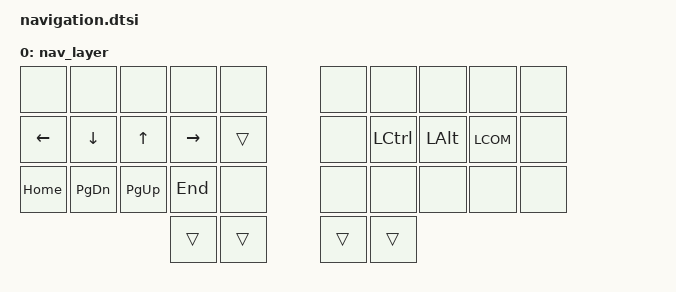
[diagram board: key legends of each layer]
/ {
    keymap {
        compatible = "zmk,keymap";
                nav_layer {
// -----------------------------------------------------------------
// |     |     |     |     |     | |     |     |     |     |     |
// | LFT | DWN | U P |RIGHT|_NAV_| |     |     |     |     |     |
// | HOM |PG_DN|PG_UP| END |     | |     |     |     |     |     |
//                   |     | SPC | | RET |_NUM_|
                        bindings = <
//┌─────────┬──────────┬──────────┬──────────┬───────┐ ┌───────┬──────────┬──────────┬─────────┬───────┐
    &none     &none      &none      &none      &none     &none   &none      &none      &none     &none 
//├─────────┼──────────┼──────────┼──────────┼───────┤ ├───────┼──────────┼──────────┼─────────┼───────┤
    &kp LEFT  &kp DOWN   &kp UP     &kp RIGHT  &trans    &none   &kp LCTRL  &kp LALT   &kp LCOM  &none
//├─────────┼──────────┼──────────┼──────────┼───────┤ ├───────┼──────────┼──────────┼─────────┼───────┤
    &kp HOME  &kp PG_DN  &kp PG_UP  &kp END    &none     &none   &none      &none      &none     &none       
//└─────────┴──────────┴──────────┴──────────┴───────┘ └───────┴──────────┴──────────┴─────────┴───────┘
                                    &trans     &trans    &trans  &trans
//                                └─────────┴────────┘ └───────┴──────────┘                        
                        >;
                };
        };
};
